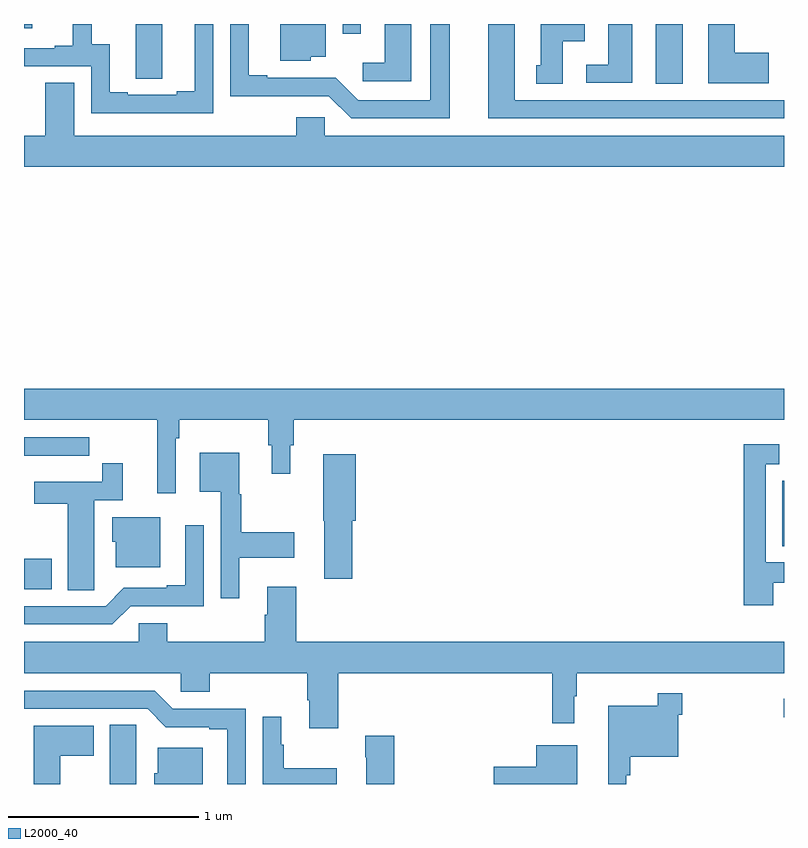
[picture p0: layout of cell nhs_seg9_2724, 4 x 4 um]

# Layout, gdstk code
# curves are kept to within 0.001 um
import gdstk
lib = gdstk.Library(unit=1e-6, precision=1e-09)
def R(c, l, rs):  # rectangles x0, y0, x1, y1
    for r in rs: c.add(gdstk.rectangle(r[:2], r[2:], *l))
def P(c, l, *ps):  # polygons
    for p in ps: c.add(gdstk.Polygon(p, *l))
L2000_40 = (2000, 40)

nhs_seg9_2724 = lib.new_cell('nhs_seg9_2724')
R(nhs_seg9_2724, L2000_40, [(270.999,1198.851,271,1198.948), (267,1199.525,267.145,1199.685), (270.992,1199.752,271,1200.096), (270.326,1202.185,270.466,1202.5), (268.677,1202.448,268.773,1202.5), (267,1202.477,267.043,1202.5)])
P(nhs_seg9_2724, L2000_40, [(269.242,1202.5),(269.138,1202.5),(269.138,1202.1),(268.758,1202.1),(268.641,1202.217),(268.279,1202.217),(268.279,1202.23),(268.183,1202.23),(268.183,1202.5),(268.086,1202.5),(268.086,1202.12),(268.605,1202.121),(268.722,1202.004),(269.242,1202.004)],
  [(267.727,1202.5),(267.587,1202.5),(267.587,1202.32),(267.588,1202.32),(267.588,1202.212),(267.727,1202.212)],
  [(269.038,1202.5),(268.898,1202.5),(268.898,1202.296),(268.782,1202.296),(268.782,1202.199),(269.038,1202.199)],
  [(271,1202.1),(269.584,1202.1),(269.584,1202.5),(269.444,1202.5),(269.444,1202.004),(271,1202.004)],
  [(269.836,1202.408),(269.95,1202.408),(269.95,1202.5),(269.72,1202.5),(269.72,1202.283),(269.696,1202.283),(269.696,1202.185),(269.836,1202.185)],
  [(270.919,1202.349),(270.742,1202.349),(270.742,1202.5),(270.602,1202.5),(270.602,1202.189),(270.919,1202.189)],
  [(270.202,1202.5),(270.074,1202.5),(270.074,1202.286),(269.958,1202.286),(269.958,1202.19),(270.202,1202.19)],
  [(267.996,1202.5),(267.899,1202.5),(267.899,1202.147),(267.803,1202.147),(267.803,1202.127),(267.547,1202.127),(267.547,1202.142),(267.451,1202.142),(267.451,1202.393),(267.357,1202.393),(267.357,1202.5),(267.257,1202.5),(267.257,1202.386),(267.161,1202.386),(267.161,1202.373),(267,1202.373),(267,1202.277),(267.354,1202.277),(267.354,1202.031),(267.996,1202.031)],
  [(268.509,1202.327),(268.588,1202.327),(268.588,1202.5),(268.349,1202.5),(268.349,1202.306),(268.509,1202.306)],
  [(271,1201.912),(268.584,1201.912),(268.584,1202.01),(268.433,1202.01),(268.433,1201.912),(267.265,1201.912),(267.265,1202.192),(267.113,1202.192),(267.113,1201.912),(267,1201.912),(267,1201.748),(271,1201.748)],
  [(267.798,1200.32),(267.818,1200.32),(267.818,1200.416),(268.285,1200.416),(268.285,1200.282),(268.304,1200.282),(268.304,1200.132),(268.402,1200.132),(268.402,1200.282),(268.421,1200.282),(268.421,1200.416),(271,1200.416),(271,1200.58),(267,1200.58),(267,1200.416),(267.701,1200.416),(267.701,1200.03),(267.798,1200.03)],
  [(267.23,1200.228),(267.343,1200.228),(267.343,1200.324),(267,1200.324),(267,1200.228),(267.064,1200.228),(267.064,1200.227),(267.23,1200.227)],
  [(270.943,1199.559),(271,1199.559),(271,1199.667),(270.903,1199.667),(270.903,1200.183),(270.976,1200.183),(270.976,1200.289),(270.787,1200.289),(270.787,1199.442),(270.943,1199.442)],
  [(268.132,1199.69),(268.423,1199.69),(268.423,1199.825),(268.144,1199.825),(268.144,1200.024),(268.132,1200.024),(268.132,1200.244),(267.926,1200.244),(267.926,1200.038),(268.035,1200.038),(268.035,1199.478),(268.132,1199.478)],
  [(268.727,1199.886),(268.745,1199.886),(268.745,1200.235),(268.574,1200.235),(268.574,1199.886),(268.58,1199.886),(268.58,1199.58),(268.727,1199.58)],
  [(267.369,1199.632),(267.37,1199.632),(267.37,1199.994),(267.521,1199.994),(267.521,1200.187),(267.412,1200.187),(267.412,1200.09),(267.053,1200.09),(267.053,1199.974),(267.23,1199.974),(267.23,1199.521),(267.369,1199.521)],
  [(267.718,1199.905),(267.464,1199.905),(267.464,1199.775),(267.482,1199.775),(267.482,1199.642),(267.718,1199.642)],
  [(267.561,1199.436),(267.945,1199.436),(267.945,1199.863),(267.848,1199.863),(267.848,1199.545),(267.752,1199.545),(267.752,1199.532),(267.525,1199.532),(267.429,1199.436),(267,1199.436),(267,1199.34),(267.465,1199.34)],
  [(268.655,1199.084),(269.779,1199.084),(269.779,1198.821),(269.896,1198.821),(269.896,1198.961),(269.908,1198.961),(269.908,1199.084),(271,1199.084),(271,1199.248),(268.433,1199.248),(268.433,1199.539),(268.28,1199.539),(268.28,1199.39),(268.268,1199.39),(268.268,1199.248),(267.755,1199.248),(267.755,1199.346),(267.603,1199.346),(267.603,1199.248),(267,1199.248),(267,1199.084),(267.825,1199.084),(267.825,1198.986),(267.977,1198.986),(267.977,1199.084),(268.49,1199.084),(268.49,1198.942),(268.502,1198.942),(268.502,1198.794),(268.655,1198.794)],
  [(268.167,1198.896),(267.783,1198.896),(267.687,1198.992),(267,1198.992),(267,1198.896),(267.651,1198.896),(267.747,1198.8),(267.974,1198.8),(267.974,1198.788),(268.07,1198.788),(268.07,1198.5),(268.167,1198.5)],
  [(270.171,1198.547),(270.191,1198.547),(270.191,1198.643),(270.444,1198.643),(270.444,1198.865),(270.464,1198.865),(270.464,1198.978),(270.336,1198.978),(270.336,1198.912),(270.074,1198.912),(270.074,1198.5),(270.171,1198.5)],
  [(268.645,1198.582),(268.366,1198.582),(268.366,1198.706),(268.354,1198.706),(268.354,1198.855),(268.257,1198.855),(268.257,1198.5),(268.645,1198.5)],
  [(267.592,1198.7),(267.591,1198.7),(267.591,1198.811),(267.452,1198.811),(267.452,1198.5),(267.592,1198.5)],
  [(267.19,1198.648),(267.367,1198.648),(267.367,1198.807),(267.05,1198.807),(267.05,1198.5),(267.19,1198.5)],
  [(268.949,1198.753),(268.795,1198.753),(268.795,1198.64),(268.802,1198.64),(268.802,1198.5),(268.949,1198.5)],
  [(269.911,1198.705),(269.696,1198.705),(269.696,1198.592),(269.472,1198.592),(269.472,1198.5),(269.911,1198.5)],
  [(267.94,1198.69),(267.704,1198.69),(267.704,1198.557),(267.686,1198.557),(267.686,1198.5),(267.94,1198.5)])

lib.write_gds('nhs_seg9_2724.gds')
